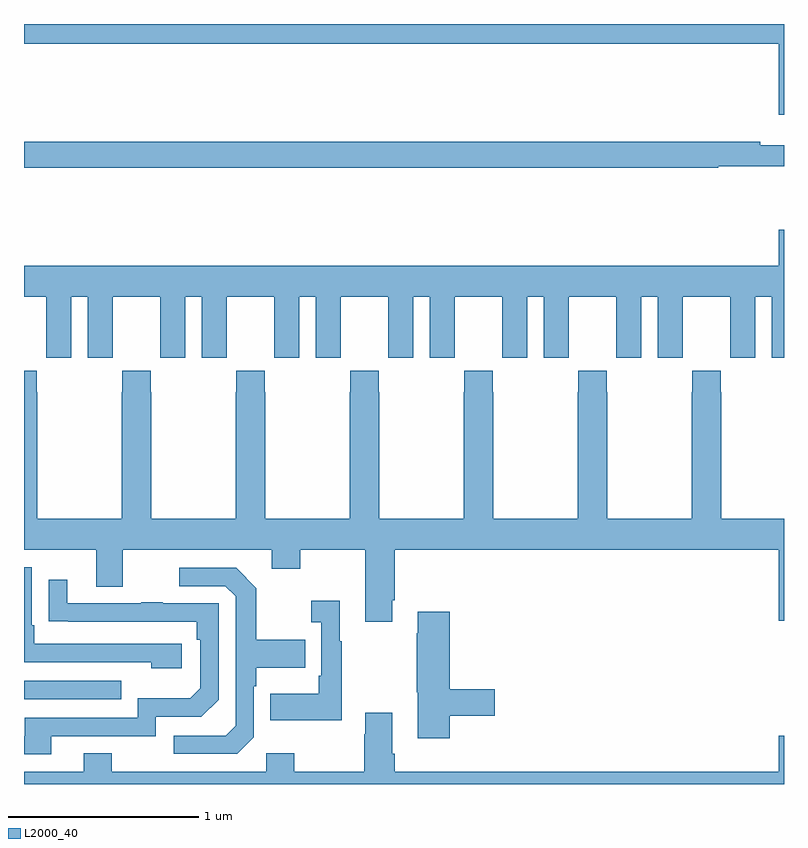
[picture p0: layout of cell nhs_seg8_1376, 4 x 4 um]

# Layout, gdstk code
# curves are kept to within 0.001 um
import gdstk
lib = gdstk.Library(unit=1e-6, precision=1e-09)
def R(c, l, rs):  # rectangles x0, y0, x1, y1
    for r in rs: c.add(gdstk.rectangle(r[:2], r[2:], *l))
def P(c, l, *ps):  # polygons
    for p in ps: c.add(gdstk.Polygon(p, *l))
L2000_40 = (2000, 40)

nhs_seg8_1376 = lib.new_cell('nhs_seg8_1376')
R(nhs_seg8_1376, L2000_40, [(197,1150.347,197.513,1150.443)])
P(nhs_seg8_1376, L2000_40, [(201,1153.9),(197,1153.9),(197,1153.796),(200.972,1153.796),(200.972,1153.422),(201,1153.422)],
  [(200.655,1153.152),(201,1153.152),(201,1153.261),(200.876,1153.261),(200.876,1153.28),(197,1153.28),(197,1153.144),(200.655,1153.144)],
  [(197.248,1152.464),(197.336,1152.464),(197.336,1152.144),(197.466,1152.144),(197.466,1152.256),(197.467,1152.256),(197.467,1152.464),(197.717,1152.464),(197.717,1152.256),(197.718,1152.256),(197.718,1152.144),(197.848,1152.144),(197.848,1152.464),(197.936,1152.464),(197.936,1152.144),(198.066,1152.144),(198.066,1152.256),(198.067,1152.256),(198.067,1152.464),(198.317,1152.464),(198.317,1152.256),(198.318,1152.256),(198.318,1152.144),(198.448,1152.144),(198.448,1152.464),(198.536,1152.464),(198.536,1152.144),(198.666,1152.144),(198.666,1152.256),(198.667,1152.256),(198.667,1152.464),(198.917,1152.464),(198.917,1152.256),(198.918,1152.256),(198.918,1152.144),(199.048,1152.144),(199.048,1152.464),(199.136,1152.464),(199.136,1152.144),(199.266,1152.144),(199.266,1152.256),(199.267,1152.256),(199.267,1152.464),(199.517,1152.464),(199.517,1152.256),(199.518,1152.256),(199.518,1152.144),(199.648,1152.144),(199.648,1152.464),(199.736,1152.464),(199.736,1152.144),(199.866,1152.144),(199.866,1152.256),(199.867,1152.256),(199.867,1152.464),(200.117,1152.464),(200.117,1152.256),(200.118,1152.256),(200.118,1152.144),(200.248,1152.144),(200.248,1152.464),(200.336,1152.464),(200.336,1152.144),(200.466,1152.144),(200.466,1152.256),(200.467,1152.256),(200.467,1152.464),(200.717,1152.464),(200.717,1152.256),(200.718,1152.256),(200.718,1152.144),(200.848,1152.144),(200.848,1152.464),(200.936,1152.464),(200.936,1152.144),(201,1152.144),(201,1152.817),(200.972,1152.817),(200.972,1152.628),(197,1152.628),(197,1152.464),(197.117,1152.464),(197.117,1152.256),(197.118,1152.256),(197.118,1152.144),(197.248,1152.144)],
  [(198.937,1150.867),(198.95,1150.867),(198.95,1151.132),(200.972,1151.132),(200.972,1150.758),(201,1150.758),(201,1151.296),(200.67,1151.296),(200.67,1151.963),(200.667,1151.963),(200.667,1152.076),(200.517,1152.076),(200.517,1151.963),(200.515,1151.963),(200.515,1151.296),(200.07,1151.296),(200.07,1151.963),(200.067,1151.963),(200.067,1152.076),(199.917,1152.076),(199.917,1151.963),(199.915,1151.963),(199.915,1151.296),(199.47,1151.296),(199.47,1151.963),(199.467,1151.963),(199.467,1152.076),(199.317,1152.076),(199.317,1151.963),(199.315,1151.963),(199.315,1151.296),(198.87,1151.296),(198.87,1151.963),(198.867,1151.963),(198.867,1152.076),(198.717,1152.076),(198.717,1151.963),(198.715,1151.963),(198.715,1151.296),(198.27,1151.296),(198.27,1151.963),(198.267,1151.963),(198.267,1152.076),(198.117,1152.076),(198.117,1151.963),(198.115,1151.963),(198.115,1151.296),(197.67,1151.296),(197.67,1151.963),(197.667,1151.963),(197.667,1152.076),(197.517,1152.076),(197.517,1151.963),(197.515,1151.963),(197.515,1151.296),(197.07,1151.296),(197.07,1151.963),(197.067,1151.963),(197.067,1152.076),(197,1152.076),(197,1151.132),(197.381,1151.132),(197.381,1150.938),(197.521,1150.938),(197.521,1151.132),(198.305,1151.132),(198.305,1151.033),(198.453,1151.033),(198.453,1151.132),(198.797,1151.132),(198.797,1150.755),(198.937,1150.755)],
  [(197.83,1150.638),(197.053,1150.638),(197.053,1150.735),(197.04,1150.735),(197.04,1151.04),(197,1151.04),(197,1150.542),(197.669,1150.542),(197.669,1150.508),(197.83,1150.508)],
  [(198.21,1150.146),(198.21,1150.415),(198.223,1150.415),(198.223,1150.511),(198.479,1150.511),(198.479,1150.659),(198.223,1150.659),(198.223,1150.931),(198.117,1151.037),(197.817,1151.037),(197.817,1150.941),(198.06,1150.941),(198.114,1150.887),(198.114,1150.206),(198.063,1150.155),(197.787,1150.155),(197.787,1150.059),(198.123,1150.059)],
  [(197.143,1150.152),(197.694,1150.152),(197.694,1150.254),(197.934,1150.254),(198.024,1150.344),(198.024,1150.851),(197.729,1150.851),(197.729,1150.856),(197.617,1150.856),(197.617,1150.851),(197.227,1150.851),(197.227,1150.975),(197.131,1150.975),(197.131,1150.756),(197.908,1150.755),(197.908,1150.658),(197.928,1150.658),(197.928,1150.404),(197.875,1150.351),(197.598,1150.351),(197.598,1150.248),(197.003,1150.248),(197.003,1150.152),(197,1150.152),(197,1150.056),(197.143,1150.056)],
  [(198.673,1150.651),(198.661,1150.651),(198.661,1150.864),(198.513,1150.864),(198.513,1150.751),(198.564,1150.751),(198.564,1150.471),(198.552,1150.471),(198.552,1150.375),(198.295,1150.375),(198.295,1150.235),(198.673,1150.235)],
  [(199.241,1150.258),(199.477,1150.258),(199.477,1150.4),(199.241,1150.4),(199.241,1150.807),(199.073,1150.807),(199.073,1150.694),(199.066,1150.694),(199.066,1150.383),(199.073,1150.383),(199.073,1150.14),(199.241,1150.14)],
  [(201,1150.153),(200.972,1150.153),(200.972,1149.964),(198.95,1149.964),(198.95,1150.06),(198.937,1150.06),(198.937,1150.276),(198.797,1150.276),(198.797,1150.163),(198.79,1150.163),(198.79,1149.964),(198.423,1149.964),(198.423,1150.063),(198.276,1150.063),(198.276,1149.964),(197.463,1149.964),(197.463,1150.063),(197.315,1150.063),(197.315,1149.964),(197,1149.964),(197,1149.9),(201,1149.9)])

lib.write_gds('nhs_seg8_1376.gds')
